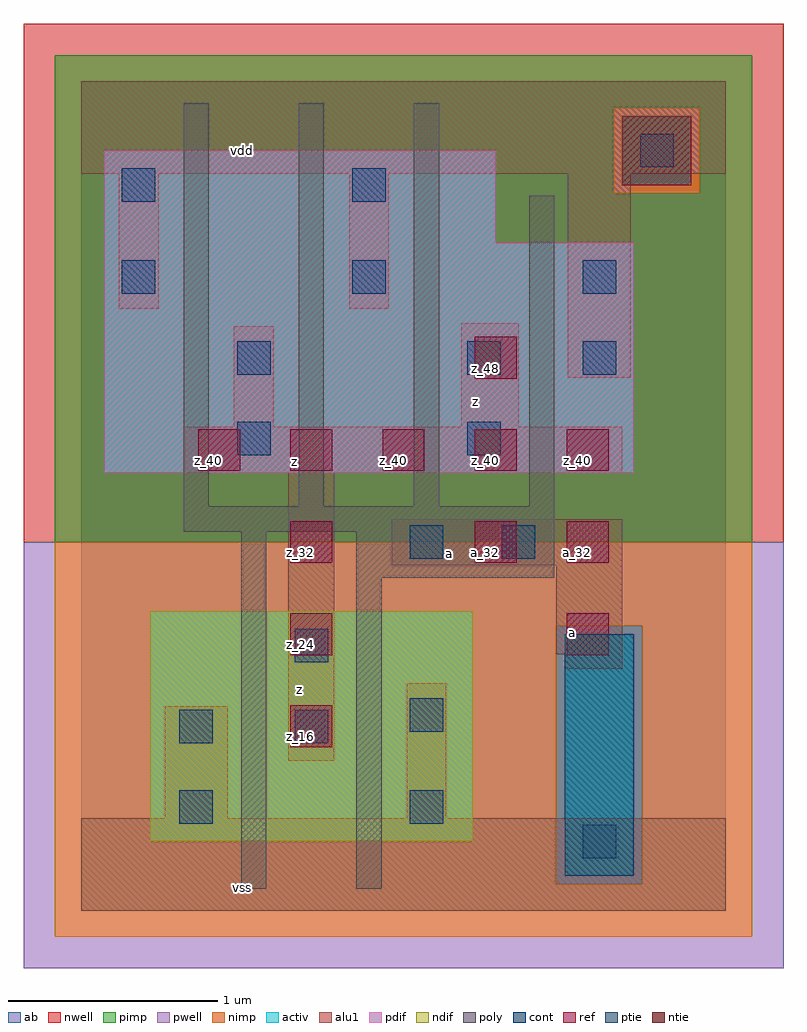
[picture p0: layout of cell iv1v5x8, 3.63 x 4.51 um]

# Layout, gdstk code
import gdstk
lib = gdstk.Library(unit=1e-6, precision=2.5e-09)
def R(c, l, rs):  # rectangles x0, y0, x1, y1
    for r in rs: c.add(gdstk.rectangle(r[:2], r[2:], *l))
def A(c, l, x, y, w, h, nx, ny, dx, dy):  # array of equal rectangles
    R(c, l, [(x+i*dx, y+j*dy, x+i*dx+w, y+j*dy+h) for i in range(nx) for j in range(ny)])
ndif = (3, 0)
pdif = (4, 0)
ntie = (5, 0)
ptie = (6, 0)
ref = (24, 0)
cont = (25, 0)
pwell = (41, 0)
nwell = (42, 0)
activ = (43, 0)
pimp = (44, 0)
nimp = (45, 0)
poly = (46, 0)
alu1 = (49, 0)
ab = (63, 0)

iv1v5x8 = lib.new_cell('iv1v5x8')
R(iv1v5x8, ndif, [(0.33,0.33,1.87,1.43)])
R(iv1v5x8, pdif, [(0.11,2.09,2.64,3.19), (0.11,3.19,1.98,3.63)])
R(iv1v5x8, ntie, [(2.585,3.465,2.915,3.795)])
R(iv1v5x8, ptie, [(2.31,0.165,2.64,1.32)])
A(iv1v5x8, ref, 1, 0.78, 0.2, 0.2, 1, 3, 0, 0.44)
A(iv1v5x8, ref, 0.56, 2.1, 0.2, 0.2, 5, 1, 0.44, 0)
R(iv1v5x8, ref, [(2.32,1.22,2.52,1.42), (1.88,1.66,2.08,1.86), (2.32,1.66,2.52,1.86), (1.88,2.54,2.08,2.74)])
A(iv1v5x8, cont, 0.195, 2.945, 0.16, 0.16, 3, 1, 1.1, 0)
R(iv1v5x8, cont, [(2.395,0.25,2.555,0.41), (0.47,0.415,0.63,0.575), (1.57,0.415,1.73,0.575), (0.47,0.8,0.63,0.96), (1.02,0.8,1.18,0.96), (1.57,0.855,1.73,1.015), (1.02,1.185,1.18,1.345), (1.57,1.68,1.73,1.84), (2.01,1.68,2.17,1.84), (0.745,2.175,0.905,2.335), (1.845,2.175,2.005,2.335), (0.745,2.56,0.905,2.72), (1.845,2.56,2.005,2.72), (2.395,2.56,2.555,2.72), (0.195,3.385,0.355,3.545), (1.295,3.385,1.455,3.545), (2.67,3.55,2.83,3.71)])
R(iv1v5x8, pwell, [(-0.275,-0.275,3.355,1.76)])
R(iv1v5x8, nwell, [(-0.275,1.76,3.355,4.235)])
R(iv1v5x8, activ, [(2.31,0.165,2.64,1.32), (0.33,0.33,1.87,1.43), (0.11,2.09,2.64,3.19), (0.11,3.19,1.98,3.63), (2.585,3.465,2.915,3.795)])
R(iv1v5x8, pimp, [(2.27,0.125,2.68,1.36), (-0.125,1.76,3.205,3.425), (-0.125,3.425,2.545,3.835), (2.955,3.425,3.205,3.835), (-0.125,3.835,3.205,4.085)])
R(iv1v5x8, nimp, [(-0.125,-0.125,3.205,0.125), (-0.125,0.125,2.27,1.36), (2.68,0.125,3.205,1.36), (-0.125,1.36,3.205,1.76), (2.545,3.425,2.955,3.835)])
A(iv1v5x8, poly, 0.49, 1.93, 0.12, 1.925, 3, 1, 0.55, 0)
R(iv1v5x8, poly, [(0.765,0.105,0.885,1.81), (1.315,0.105,1.435,1.59), (1.315,1.59,2.26,1.81), (0.49,1.81,2.26,1.93), (2.14,1.93,2.26,3.415)])
R(iv1v5x8, alu1, [(0,0,3.08,0.44), (0.4,0.44,0.7,0.975), (1.555,0.44,1.745,1.085), (0.99,0.715,1.21,2.09), (2.31,1.155,2.585,1.225), (2.27,1.225,2.585,1.65), (1.485,1.65,2.585,1.87), (0.495,2.09,2.585,2.31), (0.73,2.31,0.92,2.79), (1.815,2.31,2.09,2.805), (2.325,2.545,2.625,3.52), (0.18,2.875,0.37,3.52), (1.28,2.875,1.47,3.52), (0,3.52,3.08,3.96)])
R(iv1v5x8, ab, [(0,0,3.08,3.96)])
iv1v5x8.add(gdstk.Label('vss', (0.77,0.11), layer=49, texttype=0))
iv1v5x8.add(gdstk.Label('a', (2.3475,1.33), layer=49, texttype=0))
iv1v5x8.add(gdstk.Label('a', (1.76,1.705), layer=49, texttype=0))
iv1v5x8.add(gdstk.Label('z', (1.045,1.0575), layer=49, texttype=0))
iv1v5x8.add(gdstk.Label('z', (1.0175,2.145), layer=49, texttype=0))
iv1v5x8.add(gdstk.Label('z', (1.8825,2.4325), layer=49, texttype=0))
iv1v5x8.add(gdstk.Label('vdd', (0.77,3.63), layer=49, texttype=0))
iv1v5x8.add(gdstk.Label('z_40', (0.61,2.15), layer=24, texttype=0))
iv1v5x8.add(gdstk.Label('z_16', (1.05,0.83), layer=24, texttype=0))
iv1v5x8.add(gdstk.Label('z_24', (1.05,1.27), layer=24, texttype=0))
iv1v5x8.add(gdstk.Label('z_32', (1.05,1.71), layer=24, texttype=0))
iv1v5x8.add(gdstk.Label('z_40', (1.05,2.15), layer=24, texttype=0))
iv1v5x8.add(gdstk.Label('z_40', (1.49,2.15), layer=24, texttype=0))
iv1v5x8.add(gdstk.Label('a_32', (1.93,1.71), layer=24, texttype=0))
iv1v5x8.add(gdstk.Label('z_40', (1.93,2.15), layer=24, texttype=0))
iv1v5x8.add(gdstk.Label('z_48', (1.93,2.59), layer=24, texttype=0))
iv1v5x8.add(gdstk.Label('a_24', (2.37,1.27), layer=24, texttype=0))
iv1v5x8.add(gdstk.Label('a_32', (2.37,1.71), layer=24, texttype=0))
iv1v5x8.add(gdstk.Label('z_40', (2.37,2.15), layer=24, texttype=0))

lib.write_gds('iv1v5x8.gds')
